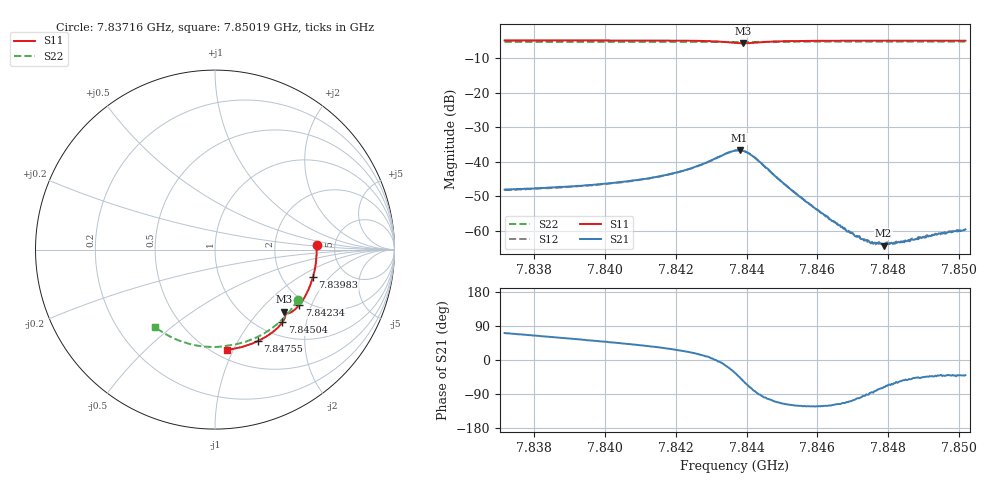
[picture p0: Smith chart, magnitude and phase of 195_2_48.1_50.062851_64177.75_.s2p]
#  HZ  S  RI  R  50.00
! Rohde & Schwarz Vector Network Analyzer
! Rohde-Schwarz,ZNB20-2Port,1311601062101988,3.16
! Created: UTC 12/23/2023, 3:54:11 AM
! freq[Hz]  re:S11  im:S11  re:S21  im:S21  re:S12  im:S12  re:S22  im:S22
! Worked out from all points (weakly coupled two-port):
!   401 points, 7.83716 GHz to 7.85019 GHz, reference 50 ohm
!   highest |S21| = -36.64 dB at 7.8438 GHz (marker M1); lowest = -64.2 dB at 7.84787 GHz (marker M2)
!   lowest |S11| = -5.7 dB at 7.8439 GHz (marker M3), VSWR 3.14, Z = 73.3 - j69.2 ohm
!   |S11| at or under -10 dB: nowhere
!   |S22| runs from -5.4 to -5.3 dB; largest |S21 - S12| = 0.00038
!   S11 on the Smith chart (normalised r, x): 7.83716 GHz: 3.59, +0.27; 7.83983 GHz: 2.97, -1.32; 7.84234 GHz: 1.82, -1.64; 7.84504 GHz: 1.26, -1.46; 7.84755 GHz: 0.81, -1.21; 7.85019 GHz: 0.58, -0.95
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7.837157e9  0.5658 0.0255  0.00128 0.00375  0.00134 0.00368  0.4616 -0.2796
7.83934e9  0.5543 -0.1191  0.00266 0.00366  0.00263 0.00361  0.3654 -0.3981
7.839828e9  0.5463 -0.151  0.00308 0.00359  0.00304 0.00358  0.3396 -0.4206
7.841522e9  0.5029 -0.2584  0.00514 0.00336  0.0051 0.00338  0.2401 -0.4851
7.842337e9  0.4707 -0.3076  0.00724 0.00285  0.00718 0.00289  0.1875 -0.5077
7.843184e9  0.4208 -0.3505  0.0118 -0.000727  0.0116 -0.00039  0.1302 -0.5244
7.843672e9  0.387 -0.3524  0.0121 -0.00825  0.0121 -0.00801  0.0977 -0.5302
7.843803e9  0.3832 -0.3484  0.0104 -0.0105  0.0102 -0.0105  0.0893 -0.5314
7.8439e9  0.3832 -0.3461  0.0082 -0.0118  0.00838 -0.0117  0.0834 -0.5326
7.844031e9  0.3858 -0.3454  0.00542 -0.0124  0.00545 -0.0123  0.0751 -0.5341
7.844226e9  0.3908 -0.3516  0.00166 -0.0115  0.00163 -0.0115  0.0623 -0.5366
7.845041e9  0.3761 -0.405  -0.00209 -0.00443  -0.00206 -0.0045  0.00551 -0.5426
7.845855e9  0.3359 -0.4479  -0.00123 -0.00193  -0.00123 -0.00195  -0.0521 -0.541
7.846669e9  0.2902 -0.4812  -0.000499 -0.00104  -0.00047 -0.00105  -0.1088 -0.5332
7.846832e9  0.2807 -0.487  -0.00035 -0.000921  -0.000366 -0.000932  -0.1199 -0.5309
7.847288e9  0.2537 -0.5022  -6.24e-05 -0.000763  -0.000111 -0.000731  -0.151 -0.5232
7.847549e9  0.238 -0.51  6.42e-05 -0.000695  5.78e-05 -0.000672  -0.1684 -0.5178
7.847875e9  0.2181 -0.5188  0.000194 -0.000587  0.000199 -0.000616  -0.1901 -0.5105
7.848038e9  0.2079 -0.5233  0.000278 -0.000588  0.000282 -0.000591  -0.2009 -0.5065
7.848331e9  0.1895 -0.5301  0.000381 -0.000571  0.000379 -0.000571  -0.22 -0.4988
7.849145e9  0.1374 -0.5459  0.000599 -0.000584  0.000595 -0.00059  -0.2712 -0.4735
7.850188e9  0.0691 -0.5582  0.000809 -0.000683  0.000786 -0.000662  -0.3321 -0.4335
